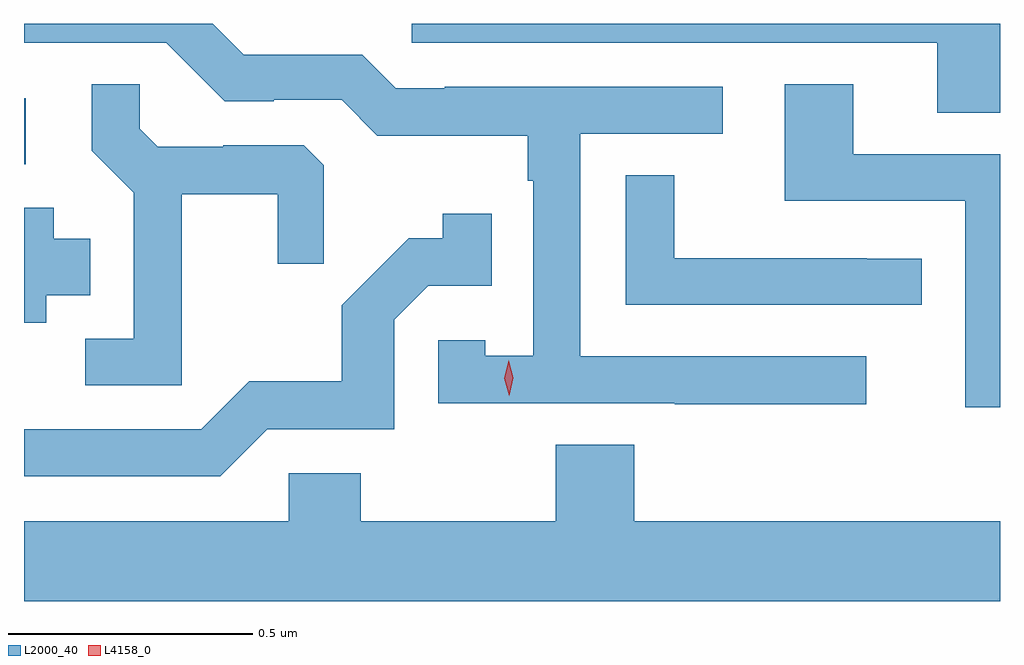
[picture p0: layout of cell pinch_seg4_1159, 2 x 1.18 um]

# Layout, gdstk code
import gdstk
lib = gdstk.Library(unit=1e-6, precision=1e-09)
def R(c, l, rs):  # rectangles x0, y0, x1, y1
    for r in rs: c.add(gdstk.rectangle(r[:2], r[2:], *l))
def P(c, l, *ps):  # polygons
    for p in ps: c.add(gdstk.Polygon(p, *l))
L2000_40 = (2000, 40)
L4158_0 = (4158, 0)

pinch_seg4_1159 = lib.new_cell('pinch_seg4_1159')
R(pinch_seg4_1159, L2000_40, [(424.758,761.751,424.762,761.887)])
P(pinch_seg4_1159, L2000_40, [(426.484,761.358),(425.898,761.358),(425.898,761.814),(426.19,761.814),(426.19,761.91),(425.62,761.91),(425.62,761.907),(425.52,761.907),(425.451,761.976),(425.208,761.976),(425.145,762.039),(424.758,762.039),(424.758,762),(425.049,762),(425.169,761.88),(425.27,761.88),(425.27,761.883),(425.409,761.883),(425.482,761.81),(425.79,761.81),(425.79,761.717),(425.802,761.717),(425.802,761.359),(425.703,761.359),(425.703,761.391),(425.607,761.391),(425.607,761.262),(426.091,761.262),(426.091,761.26),(426.484,761.26)],
  [(426.758,762.039),(425.553,762.039),(425.553,762),(426.629,762),(426.629,761.857),(426.758,761.857)],
  [(426.758,761.772),(426.457,761.772),(426.457,761.915),(426.317,761.915),(426.317,761.676),(426.687,761.676),(426.687,761.253),(426.758,761.253)],
  [(425.081,761.69),(425.278,761.69),(425.278,761.547),(425.372,761.547),(425.372,761.749),(425.331,761.79),(425.166,761.79),(425.166,761.787),(425.032,761.787),(424.995,761.824),(424.995,761.915),(424.897,761.915),(424.897,761.779),(424.983,761.693),(424.983,761.394),(424.884,761.394),(424.884,761.298),(425.081,761.298)],
  [(426.598,761.558),(426.485,761.558),(426.485,761.559),(426.09,761.559),(426.09,761.729),(425.991,761.729),(425.991,761.463),(426.598,761.463)],
  [(424.804,761.483),(424.894,761.483),(424.894,761.599),(424.819,761.599),(424.819,761.662),(424.758,761.662),(424.758,761.426),(424.804,761.426)],
  [(425.256,761.208),(425.517,761.208),(425.517,761.433),(425.586,761.502),(425.717,761.502),(425.717,761.65),(425.616,761.65),(425.616,761.6),(425.546,761.6),(425.409,761.462),(425.409,761.307),(425.22,761.307),(425.121,761.208),(424.758,761.208),(424.758,761.112),(425.16,761.112)],
  [(426.758,761.02),(426.008,761.02),(426.008,761.177),(425.848,761.177),(425.848,761.02),(425.448,761.02),(425.448,761.118),(425.301,761.118),(425.301,761.02),(424.758,761.02),(424.758,760.856),(426.758,760.856)])
P(pinch_seg4_1159, L4158_0, [(425.752,761.277),(425.752,761.277),(425.742,761.313),(425.751,761.349),(425.751,761.35),(425.751,761.349),(425.761,761.314),(425.752,761.277)])

lib.write_gds('pinch_seg4_1159.gds')
